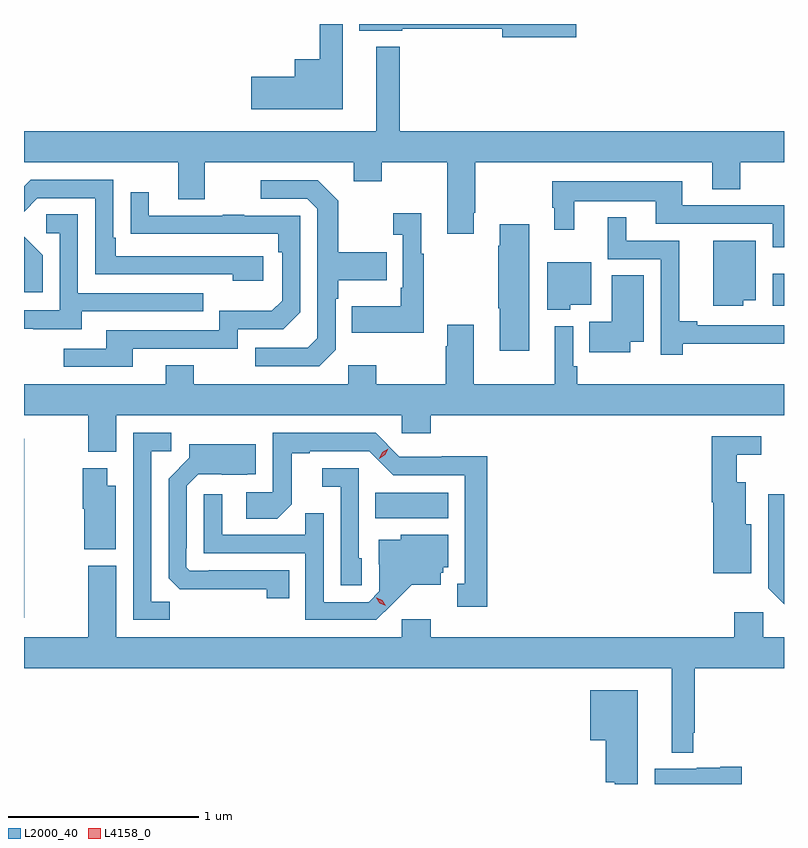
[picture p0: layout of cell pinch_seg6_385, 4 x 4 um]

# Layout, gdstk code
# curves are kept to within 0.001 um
import gdstk
lib = gdstk.Library(unit=1e-6, precision=1e-09)
def R(c, l, rs):  # rectangles x0, y0, x1, y1
    for r in rs: c.add(gdstk.rectangle(r[:2], r[2:], *l))
def P(c, l, *ps):  # polygons
    for p in ps: c.add(gdstk.Polygon(p, *l))
L2000_40 = (2000, 40)
L4158_0 = (4158, 0)

pinch_seg6_385 = lib.new_cell('pinch_seg6_385')
R(pinch_seg6_385, L2000_40, [(638.128,927.624,638.13,928.564), (639.976,928.148,640.36,928.282), (642.068,929.264,642.128,929.434)])
P(pinch_seg6_385, L2000_40, [(639.805,930.748),(639.684,930.748),(639.684,930.562),(639.554,930.562),(639.554,930.47),(639.324,930.47),(639.324,930.299),(639.805,930.299)],
  [(641.035,930.748),(639.893,930.748),(639.893,930.713),(640.12,930.713),(640.12,930.724),(640.646,930.724),(640.646,930.677),(641.035,930.677)],
  [(640.495,929.755),(640.503,929.755),(640.503,930.02),(641.75,930.02),(641.75,929.878),(641.898,929.878),(641.898,930.02),(642.128,930.02),(642.128,930.184),(640.105,930.184),(640.105,930.628),(639.983,930.628),(639.983,930.184),(638.128,930.184),(638.128,930.02),(638.939,930.02),(638.939,929.826),(639.079,929.826),(639.079,930.02),(639.863,930.02),(639.863,929.921),(640.011,929.921),(640.011,930.02),(640.355,930.02),(640.355,929.643),(640.495,929.643)],
  [(639.388,929.526),(638.611,929.526),(638.611,929.623),(638.598,929.623),(638.598,929.928),(638.163,929.928),(638.128,929.893),(638.128,929.761),(638.199,929.832),(638.502,929.832),(638.502,929.43),(639.227,929.43),(639.227,929.396),(639.388,929.396)],
  [(639.768,929.034),(639.768,929.303),(639.781,929.303),(639.781,929.399),(640.037,929.399),(640.037,929.547),(639.781,929.547),(639.781,929.819),(639.675,929.925),(639.375,929.925),(639.375,929.829),(639.618,929.829),(639.672,929.775),(639.672,929.094),(639.621,929.043),(639.345,929.043),(639.345,928.947),(639.681,928.947)],
  [(642.128,929.793),(641.593,929.793),(641.593,929.92),(640.909,929.92),(640.909,929.782),(640.919,929.782),(640.919,929.664),(641.023,929.664),(641.023,929.816),(641.453,929.816),(641.453,929.697),(642.069,929.697),(642.069,929.574),(642.128,929.574)],
  [(638.701,929.04),(639.252,929.04),(639.252,929.142),(639.492,929.142),(639.582,929.232),(639.582,929.739),(639.287,929.739),(639.287,929.744),(639.175,929.744),(639.175,929.739),(638.785,929.739),(638.785,929.863),(638.689,929.863),(638.689,929.644),(639.466,929.643),(639.466,929.546),(639.486,929.546),(639.486,929.292),(639.433,929.239),(639.156,929.239),(639.156,929.136),(638.561,929.136),(638.561,929.04),(638.337,929.04),(638.337,928.944),(638.701,928.944)],
  [(640.231,929.539),(640.219,929.539),(640.219,929.752),(640.071,929.752),(640.071,929.639),(640.122,929.639),(640.122,929.359),(640.11,929.359),(640.11,929.263),(639.853,929.263),(639.853,929.123),(640.231,929.123)],
  [(638.431,929.235),(639.071,929.235),(639.071,929.331),(638.412,929.331),(638.412,929.747),(638.244,929.747),(638.244,929.646),(638.316,929.646),(638.316,929.241),(638.128,929.241),(638.128,929.145),(638.177,929.145),(638.177,929.141),(638.431,929.141)],
  [(641.594,929.066),(642.128,929.066),(642.128,929.163),(641.671,929.163),(641.671,929.183),(641.576,929.183),(641.576,929.607),(641.299,929.607),(641.299,929.731),(641.201,929.731),(641.201,929.511),(641.478,929.511),(641.478,929.007),(641.594,929.007)],
  [(640.786,929.695),(640.631,929.695),(640.631,929.582),(640.624,929.582),(640.624,929.251),(640.631,929.251),(640.631,929.028),(640.786,929.028)],
  [(638.226,929.53),(638.128,929.628),(638.128,929.494),(638.129,929.493),(638.129,929.337),(638.226,929.337)],
  [(641.914,929.294),(641.98,929.294),(641.98,929.608),(641.756,929.608),(641.756,929.264),(641.914,929.264)],
  [(641.004,929.27),(641.113,929.27),(641.113,929.494),(640.883,929.494),(640.883,929.243),(641.004,929.243)],
  [(641.32,929.075),(641.389,929.075),(641.389,929.426),(641.222,929.426),(641.222,929.182),(641.104,929.182),(641.104,929.021),(641.32,929.021)],
  [(638.614,928.688),(640.116,928.688),(640.116,928.595),(640.268,928.595),(640.268,928.688),(642.128,928.688),(642.128,928.852),(641.039,928.852),(641.039,928.948),(641.019,928.948),(641.019,929.158),(640.922,929.158),(640.922,928.852),(640.495,928.852),(640.495,929.164),(640.355,929.164),(640.355,929.051),(640.348,929.051),(640.348,928.852),(639.981,928.852),(639.981,928.951),(639.834,928.951),(639.834,928.852),(639.021,928.852),(639.021,928.951),(638.873,928.951),(638.873,928.852),(638.128,928.852),(638.128,928.688),(638.467,928.688),(638.467,928.496),(638.614,928.496)],
  [(638.895,927.707),(638.799,927.707),(638.799,928.5),(638.902,928.5),(638.902,928.596),(638.703,928.596),(638.703,927.612),(638.895,927.612)],
  [(640.567,928.472),(640.326,928.472),(640.326,928.47),(640.104,928.47),(639.978,928.596),(639.438,928.596),(639.438,928.284),(639.297,928.284),(639.297,928.144),(639.461,928.144),(639.537,928.22),(639.537,928.488),(639.631,928.488),(639.631,928.5),(639.945,928.5),(640.071,928.374),(640.448,928.374),(640.448,927.801),(640.409,927.801),(640.409,927.681),(640.567,927.681)],
  [(641.956,928.114),(641.926,928.114),(641.926,928.336),(641.878,928.336),(641.878,928.481),(642.007,928.481),(642.007,928.578),(641.749,928.578),(641.749,928.232),(641.756,928.232),(641.756,927.857),(641.956,927.857)],
  [(639.524,927.873),(639.1,927.873),(639.1,927.87),(639,927.87),(638.982,927.888),(638.982,927.988),(638.985,927.988),(638.985,928.317),(639.045,928.377),(639.302,928.376),(639.305,928.379),(639.349,928.379),(639.349,928.537),(638.999,928.537),(638.999,928.464),(638.889,928.354),(638.889,927.832),(638.948,927.773),(639.406,927.772),(639.406,927.726),(639.524,927.726)],
  [(638.611,928.318),(638.566,928.318),(638.566,928.411),(638.437,928.411),(638.437,928.197),(638.444,928.197),(638.444,927.983),(638.611,927.983)],
  [(639.906,927.936),(639.891,927.936),(639.891,928.41),(639.699,928.41),(639.699,928.313),(639.795,928.313),(639.795,927.793),(639.906,927.793)],
  [(640.066,927.695),(640.169,927.797),(640.321,927.797),(640.321,927.861),(640.335,927.861),(640.335,927.888),(640.36,927.888),(640.36,928.06),(640.11,928.06),(640.11,928.033),(639.995,928.033),(639.995,927.904),(639.999,927.904),(639.999,927.762),(639.942,927.705),(639.705,927.705),(639.705,928.172),(639.607,928.172),(639.607,928.059),(639.171,928.059),(639.171,928.273),(639.075,928.273),(639.075,927.963),(639.609,927.963),(639.609,927.612),(639.982,927.612)],
  [(642.128,928.273),(642.045,928.273),(642.045,927.777),(642.128,927.694)],
  [(641.651,927.019),(641.659,927.019),(641.659,927.356),(642.128,927.356),(642.128,927.52),(642.018,927.52),(642.018,927.652),(641.867,927.652),(641.867,927.52),(640.268,927.52),(640.268,927.616),(640.116,927.616),(640.116,927.52),(638.614,927.52),(638.614,927.898),(638.467,927.898),(638.467,927.52),(638.128,927.52),(638.128,927.356),(641.537,927.356),(641.537,926.912),(641.651,926.912)],
  [(641.359,927.241),(641.108,927.241),(641.108,926.978),(641.189,926.978),(641.189,926.756),(641.238,926.756),(641.238,926.748),(641.359,926.748)],
  [(641.905,926.84),(641.792,926.84),(641.792,926.833),(641.67,926.833),(641.67,926.827),(641.447,926.827),(641.447,926.748),(641.905,926.748)])
P(pinch_seg6_385, L4158_0, [(639.997,928.461),(639.997,928.461),(640.014,928.494),(640.046,928.513),(640.046,928.513),(640.046,928.513),(640.029,928.48),(639.998,928.461)],
  [(640.031,927.685),(640.001,927.7),(639.983,927.729),(639.983,927.729),(639.984,927.729),(640.014,927.715),(640.032,927.686),(640.032,927.685)])

lib.write_gds('pinch_seg6_385.gds')
